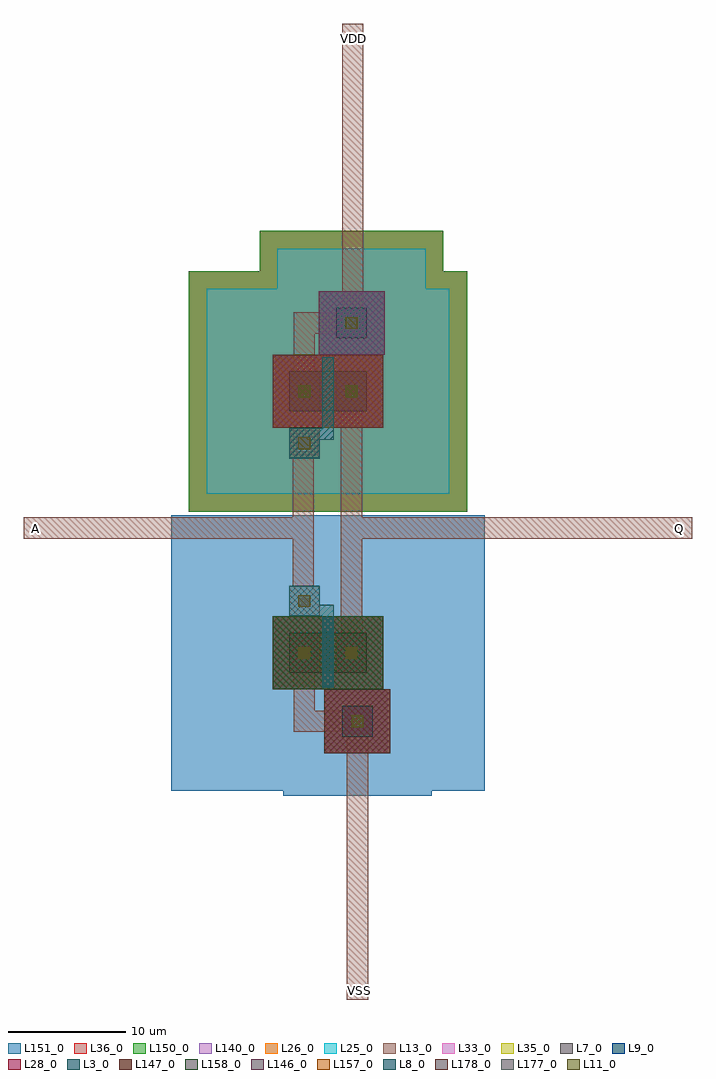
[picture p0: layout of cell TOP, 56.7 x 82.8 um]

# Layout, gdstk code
import gdstk
lib = gdstk.Library(unit=1e-6, precision=1e-07)
def R(c, l, rs):  # rectangles x0, y0, x1, y1
    for r in rs: c.add(gdstk.rectangle(r[:2], r[2:], *l))
L3_0 = (3, 0)
L7_0 = (7, 0)
L8_0 = (8, 0)
L9_0 = (9, 0)
L11_0 = (11, 0)
L13_0 = (13, 0)
L25_0 = (25, 0)
L26_0 = (26, 0)
L28_0 = (28, 0)
L33_0 = (33, 0)
L35_0 = (35, 0)
L36_0 = (36, 0)
L140_0 = (140, 0)
L146_0 = (146, 0)
L147_0 = (147, 0)
L150_0 = (150, 0)
L151_0 = (151, 0)
L157_0 = (157, 0)
L158_0 = (158, 0)
L177_0 = (177, 0)
L178_0 = (178, 0)

dcont = lib.new_cell('dcont')
R(dcont, L3_0, [(-1.3,-1.3,1.3,1.3)])
R(dcont, L11_0, [(-0.5,-0.5,0.5,0.5)])
R(dcont, L13_0, [(-1.3,-1.3,1.3,1.3), (-0.5,-0.5,0.5,0.5)])

pcont = lib.new_cell('pcont')
R(pcont, L8_0, [(-1.3,-1.3,1.3,1.3)])
R(pcont, L11_0, [(-0.5,-0.5,0.5,0.5)])
R(pcont, L13_0, [(-1.3,-1.3,1.3,1.3), (-0.5,-0.5,0.5,0.5)])

c_dcont = lib.new_cell('DCONT')
R(c_dcont, L3_0, [(-1.3,-1.3,1.3,1.3)])
R(c_dcont, L11_0, [(-0.5,-0.5,0.5,0.5)])
R(c_dcont, L13_0, [(-1.3,-1.3,1.3,1.3), (-0.5,-0.5,0.5,0.5)])

psubcont = lib.new_cell('psubcont')
R(psubcont, L7_0, [(-2.8,-2.7,2.8,2.7)])
R(psubcont, L28_0, [(-2.8,-2.7,2.8,2.7)])
R(psubcont, L33_0, [(-2.8,-2.7,2.8,2.7)])
R(psubcont, L35_0, [(-2.8,-2.7,2.8,2.7)])
R(psubcont, L151_0, [(-6.3,-6.3,6.3,6.3)])
R(psubcont, L178_0, [(-2.8,-2.7,2.8,2.7)])
psubcont.add(gdstk.Reference(c_dcont, (0,0)))

mn_1 = lib.new_cell('MN$1')
R(mn_1, L3_0, [(0,3.6,6.6,7)])
R(mn_1, L9_0, [(-1.4,2.2,8,8.4)])
R(mn_1, L33_0, [(-1.4,2.2,8,8.4)])
R(mn_1, L35_0, [(-1.4,2.2,8,8.4)])
R(mn_1, L147_0, [(-1.4,2.2,8,8.4)])
R(mn_1, L151_0, [(-10,-6.4,16.6,17)])
R(mn_1, L158_0, [(-1.4,2.2,8,8.4)])
mn_1.add(gdstk.FlexPath([(3.3,3.6),(3.3,7)], 1, ends=(1.2, 1.2), simple_path=True, layer=8, datatype=0))  # L8_0
mn_1.add(gdstk.FlexPath([(1.3,8.9),(3.3,8.9),(3.3,8.2)], 1, ends="flush", simple_path=True, layer=8, datatype=0))  # L8_0
mn_1.add(gdstk.FlexPath([(1.3,3.6),(1.3,7)], 2.6, ends="flush", simple_path=True, layer=13, datatype=0))  # L13_0
mn_1.add(gdstk.FlexPath([(5.3,3.6),(5.3,7)], 2.6, ends="flush", simple_path=True, layer=13, datatype=0))  # L13_0
mn_1.add(gdstk.FlexPath([(1.3,1.3),(1.3,4.6)], 1.8, ends="flush", simple_path=True, layer=13, datatype=0))  # L13_0
mn_1.add(gdstk.FlexPath([(5.3,6),(5.3,9.3)], 1.8, ends="flush", simple_path=True, layer=13, datatype=0))  # L13_0
mn_1.add(gdstk.Reference(dcont, (1.3,5.3)))
mn_1.add(gdstk.Reference(dcont, (5.3,5.3)))
mn_1.add(gdstk.Reference(pcont, (1.3,9.7)))
mn_1.add(gdstk.Reference(psubcont, (5.8,-0.5)))

nsubcont = lib.new_cell('nsubcont')
R(nsubcont, L7_0, [(-2.8,-2.7,2.8,2.7)])
R(nsubcont, L9_0, [(-2.8,-2.7,2.8,2.7)])
R(nsubcont, L25_0, [(-6.3,-6.3,6.3,6.3)])
R(nsubcont, L26_0, [(-6.3,-6.3,6.3,6.3)])
R(nsubcont, L33_0, [(-2.8,-2.7,2.8,2.7)])
R(nsubcont, L35_0, [(-2.8,-2.7,2.8,2.7)])
R(nsubcont, L36_0, [(-7.8,-7.8,7.8,7.8)])
R(nsubcont, L140_0, [(-6.3,-6.3,6.3,6.3)])
R(nsubcont, L150_0, [(-7.8,-7.8,7.8,7.8)])
R(nsubcont, L177_0, [(-2.8,-2.7,2.8,2.7)])
nsubcont.add(gdstk.Reference(c_dcont, (0,0)))

mp_1 = lib.new_cell('MP$1')
R(mp_1, L3_0, [(0,3.6,6.6,7)])
R(mp_1, L7_0, [(-1.4,2.2,8,8.4)])
R(mp_1, L25_0, [(-7,-3.4,13.6,14)])
R(mp_1, L26_0, [(-7,-3.4,13.6,14)])
R(mp_1, L28_0, [(-1.4,2.2,8,8.4)])
R(mp_1, L33_0, [(-1.4,2.2,8,8.4)])
R(mp_1, L36_0, [(-8.5,-4.9,15.1,15.5)])
R(mp_1, L140_0, [(-7,-3.4,13.6,14)])
R(mp_1, L146_0, [(-1.4,2.2,8,8.4)])
R(mp_1, L150_0, [(-8.5,-4.9,15.1,15.5)])
R(mp_1, L157_0, [(-1.4,2.2,8,8.4)])
mp_1.add(gdstk.FlexPath([(3.3,3.6),(3.3,7)], 1, ends=(1.2, 1.2), simple_path=True, layer=8, datatype=0))  # L8_0
mp_1.add(gdstk.FlexPath([(1.3,1.7),(3.3,1.7),(3.3,2.4)], 1, ends="flush", simple_path=True, layer=8, datatype=0))  # L8_0
mp_1.add(gdstk.FlexPath([(1.3,3.6),(1.3,7)], 2.6, ends="flush", simple_path=True, layer=13, datatype=0))  # L13_0
mp_1.add(gdstk.FlexPath([(5.3,3.6),(5.3,7)], 2.6, ends="flush", simple_path=True, layer=13, datatype=0))  # L13_0
mp_1.add(gdstk.FlexPath([(1.3,6),(1.3,9.3)], 1.8, ends="flush", simple_path=True, layer=13, datatype=0))  # L13_0
mp_1.add(gdstk.FlexPath([(5.3,1.3),(5.3,4.6)], 1.8, ends="flush", simple_path=True, layer=13, datatype=0))  # L13_0
mp_1.add(gdstk.Reference(dcont, (1.3,5.3)))
mp_1.add(gdstk.Reference(dcont, (5.3,5.3)))
mp_1.add(gdstk.Reference(pcont, (1.3,0.9)))
mp_1.add(gdstk.Reference(nsubcont, (5.3,11.1)))

top = lib.new_cell('TOP')
top.add(gdstk.FlexPath([(2.5,13.5),(2.5,16.2),(7.3,16.2)], 1.8, ends="flush", simple_path=True, layer=13, datatype=0))  # L13_0
top.add(gdstk.FlexPath([(6.6,15.2),(6.6,41.6)], 1.8, ends="flush", simple_path=True, layer=13, datatype=0))  # L13_0
top.add(gdstk.FlexPath([(2.4,6.6),(2.4,-8)], 1.8, ends="flush", simple_path=True, layer=13, datatype=0))  # L13_0
top.add(gdstk.FlexPath([(2.5,-15),(2.5,-17.6),(7.9,-17.6)], 1.8, ends="flush", simple_path=True, layer=13, datatype=0))  # L13_0
top.add(gdstk.FlexPath([(7,-16.9),(7,-41.2)], 1.8, ends="flush", simple_path=True, layer=13, datatype=0))  # L13_0
top.add(gdstk.FlexPath([(6.5,7.4),(6.5,-9.3)], 1.8, ends="flush", simple_path=True, layer=13, datatype=0))  # L13_0
top.add(gdstk.FlexPath([(6,-1.2),(35.4,-1.2)], 1.8, ends="flush", simple_path=True, layer=13, datatype=0))  # L13_0
top.add(gdstk.FlexPath([(2.7,-1.2),(-21.3,-1.2)], 1.8, ends="flush", simple_path=True, layer=13, datatype=0))  # L13_0
top.add(gdstk.Reference(mn_1, (1.2,-17.1)))
top.add(gdstk.Reference(mp_1, (1.2,5.1)))
top.add(gdstk.Label('Q', (34.3,-1.2), layer=13, texttype=0))
top.add(gdstk.Label('A', (-20.3,-1.2), layer=13, texttype=0))
top.add(gdstk.Label('VDD', (6.7,40.3), layer=13, texttype=0))
top.add(gdstk.Label('VSS', (7.2,-40.4), layer=13, texttype=0))

lib.write_gds('TOP.gds')
